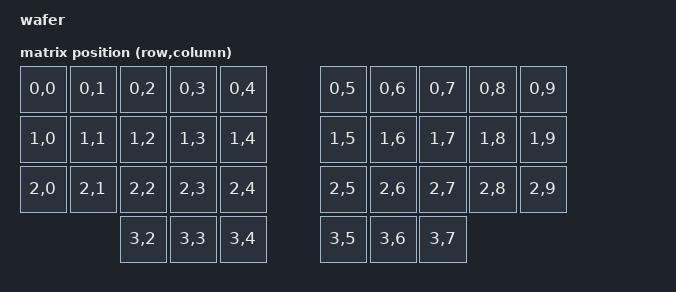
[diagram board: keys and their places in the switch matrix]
/*
 * Copyright (c) 2020 The ZMK Contributors
 *
 * SPDX-License-Identifier: MIT
 */

/dts-v1/;
#include <nordic/nrf52840_qiaa.dtsi>
#include "wafer-pinctrl.dtsi"
#include <dt-bindings/zmk/matrix_transform.h>
#include <layouts/wafer/wafer_layout.dtsi>

&wafer_layout_phys {
    transform = <&default_transform>;
};
/ {
    model = "wafer";
    compatible = "waferkeyboard,wafer";

    chosen {
        zephyr,code-partition = &code_partition;
        zephyr,sram = &sram0;
        zephyr,flash = &flash0;
        zmk,physical-layout = &wafer_layout_phys;
        zmk,battery = &vbatt;
    };

    default_transform: keymap_transform_0 {
        compatible = "zmk,matrix-transform";
        columns = <10>;
        rows = <4>;
        
        map = <
            RC(0,0) RC(0,1) RC(0,2) RC(0,3) RC(0,4) RC(0,5) RC(0,6) RC(0,7) RC(0,8) RC(0,9)
            RC(1,0) RC(1,1) RC(1,2) RC(1,3) RC(1,4) RC(1,5) RC(1,6) RC(1,7) RC(1,8) RC(1,9)
            RC(2,0) RC(2,1) RC(2,2) RC(2,3) RC(2,4) RC(2,5) RC(2,6) RC(2,7) RC(2,8) RC(2,9)
                            RC(3,2) RC(3,3) RC(3,4) RC(3,5) RC(3,6) RC(3,7)
        >;
    };


    leds {
        compatible = "gpio-leds";
        blue_led: led_0 {
            gpios = <&gpio0 15 GPIO_ACTIVE_HIGH>;
        };
    };

    // Node name must match original "EXT_POWER" label to preserve user settings.
    EXT_POWER {
        compatible = "zmk,ext-power-generic";
        control-gpios = <&gpio0 13 GPIO_ACTIVE_HIGH>;
        init-delay-ms = <50>;
    };

    vbatt: vbatt {
        compatible = "zmk,battery-voltage-divider";
        io-channels = <&adc 1>;
        output-ohms = <10000000>;
        full-ohms = <(10000000 + 4000000)>;
    };
};

&adc {
    status = "okay";
};

&gpiote {
    status = "okay";
};

&gpio0 {
    status = "okay";
};

&gpio1 {
    status = "okay";
};

&i2c0 {
    compatible = "nordic,nrf-twi";
    pinctrl-0 = <&i2c0_default>;
    pinctrl-1 = <&i2c0_sleep>;
    pinctrl-names = "default", "sleep";
};

&spi1 {
    compatible = "nordic,nrf-spim";
    pinctrl-0 = <&spi1_default>;
    pinctrl-1 = <&spi1_sleep>;
    pinctrl-names = "default", "sleep";
};

&uart0 {
    compatible = "nordic,nrf-uarte";
    current-speed = <115200>;
    pinctrl-0 = <&uart0_default>;
    pinctrl-1 = <&uart0_sleep>;
    pinctrl-names = "default", "sleep";
};

zephyr_udc0: &usbd {
    status = "okay";
};


&flash0 {
    /*
     * For more information, see:
     * http://docs.zephyrproject.org/latest/devices/dts/flash_partitions.html
     */
    partitions {
        compatible = "fixed-partitions";
        #address-cells = <1>;
        #size-cells = <1>;

        sd_partition: partition@0 {
            reg = <0x00000000 0x00026000>;
        };
        code_partition: partition@26000 {
            reg = <0x00026000 0x000c6000>;
        };

        /*
         * The flash starting at 0x000ec000 and ending at
         * 0x000f3fff is reserved for use by the application.
         */

        /*
         * Storage partition will be used by FCB/LittleFS/NVS
         * if enabled.
         */
        storage_partition: partition@ec000 {
            reg = <0x000ec000 0x00008000>;
        };

        boot_partition: partition@f4000 {
            reg = <0x000f4000 0x0000c000>;
        };
    };
};
&pinctrl {
    i2c1_default: i2c1_default {
        group1 {
            psels = <NRF_PSEL(TWIM_SDA, 0, 23)>,
                    <NRF_PSEL(TWIM_SCL, 0, 19)>;
            bias-pull-up;
        };
    };

    i2c1_sleep: i2c1_sleep {
        group1 {
            psels = <NRF_PSEL(TWIM_SDA, 0, 23)>,
                    <NRF_PSEL(TWIM_SCL, 0, 19)>;
            low-power-enable;
            bias-pull-up;
        };
    };
};

&i2c1 {
    status = "okay";
    compatible = "nordic,nrf-twi";
    pinctrl-0 = <&i2c1_default>;
    pinctrl-1 = <&i2c1_sleep>;
    pinctrl-names = "default", "sleep";

    builtin_fuel_gauge: max17048@36 {
        compatible = "zmk,maxim-max17048";
        status = "okay";
        reg = <0x36>;
    };
};

/ {
    chosen {
        zmk,battery = &builtin_fuel_gauge;
    };
};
